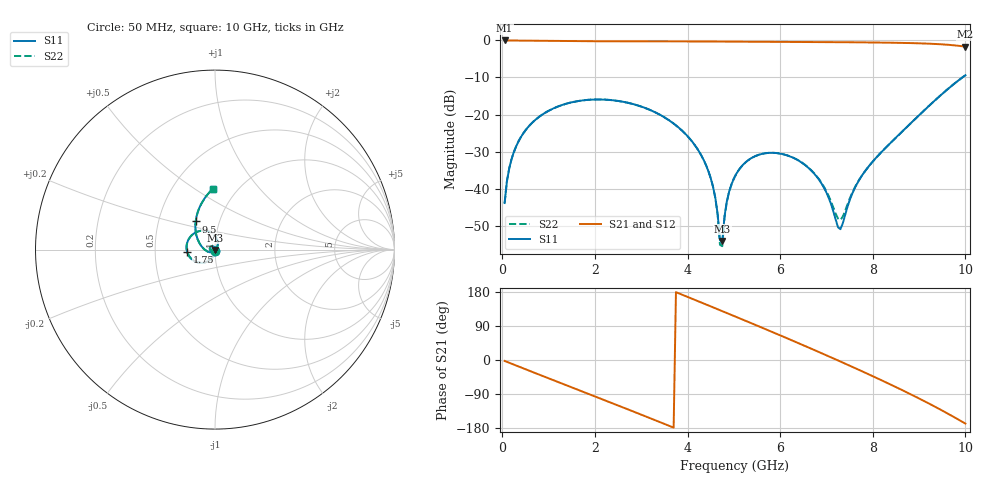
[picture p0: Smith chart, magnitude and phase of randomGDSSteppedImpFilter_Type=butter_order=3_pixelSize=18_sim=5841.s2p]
! freq	dB(S11)	phase(S11)	dB(S12)	phase(S12)
!  dB(S21)	phase(S21)	dB(S22)	phase(S22)
!S-par simulation data
#  GHz  S  DB  R 50
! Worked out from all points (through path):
!   200 points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, 50 MHz to 10 GHz, reference 50 ohm
!   highest |S21| = 0.00 dB at 50 MHz (marker M1); lowest = -1.7 dB at 10 GHz (marker M2)
!   group delay of S21, straight-line fit = 144 ps
!   lowest |S11| = -54.1 dB at 4.75 GHz (marker M3), VSWR 1.00, Z = 50 - j0.196 ohm
!   |S11| at or under -10 dB: start of sweep to 9.933 GHz
!   |S22| runs from -55.5 to -9.4 dB; largest |S21 - S12| = 0
!   S11 on the Smith chart (normalised r, x): 50 MHz: 1.00, -0.01; 1.75 GHz: 0.73, -0.02; 9.5 GHz: 0.77, +0.25; 10 GHz: 0.78, +0.60
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0.05  -43.89 -91.5  -0.00 -2.5  -0.00 -2.5  -43.89 -91.5
0.2  -32.05 -99.6  -0.02 -9.8  -0.02 -9.8  -32.05 -99.6
0.5  -24.27 -114.6  -0.05 -24.3  -0.05 -24.3  -24.27 -114.6
1.15  -18.09 -146.3  -0.13 -55.6  -0.13 -55.6  -18.09 -146.3
1.75  -16.16 -175.2  -0.20 -84.2  -0.20 -84.2  -16.16 -175.2
2.5  -16.33 148.9  -0.24 -120.0  -0.24 -120.0  -16.33 148.9
3.4  -20.03 104.8  -0.25 -163.7  -0.25 -163.7  -20.03 104.9
4.35  -32.31 55.1  -0.28 149.1  -0.28 149.1  -32.31 55.8
4.55  -39.45 41.0  -0.29 139.0  -0.29 139.0  -39.47 43.0
4.65  -46.82 25.8  -0.30 134.0  -0.30 134.0  -46.99 30.9
4.7  -53.95 -6.4  -0.30 131.5  -0.30 131.5  -55.15 3.2
4.75  -54.13 -95.3  -0.31 129.0  -0.31 129.0  -55.53 -105.1
4.85  -43.36 -136.1  -0.31 123.9  -0.31 123.9  -43.48 -140.0
5.05  -36.07 -152.9  -0.33 113.8  -0.33 113.8  -36.10 -154.8
5.8  -30.33 164.5  -0.38 75.4  -0.38 75.4  -30.33 163.0
6.7  -35.47 109.3  -0.43 28.3  -0.43 28.3  -35.39 106.1
7.3  -50.96 -15.1  -0.47 -3.9  -0.47 -3.9  -48.47 -12.4
7.7  -37.80 -110.9  -0.51 -25.9  -0.51 -25.9  -37.73 -107.0
8.35  -28.06 -162.2  -0.60 -62.7  -0.60 -62.7  -28.09 -161.4
8.95  -20.78 158.6  -0.75 -98.4  -0.75 -98.4  -20.79 158.7
9.5  -14.41 124.5  -1.06 -133.5  -1.06 -133.5  -14.42 124.4
10  -9.39 92.1  -1.68 -167.7  -1.68 -167.7  -9.39 91.9
